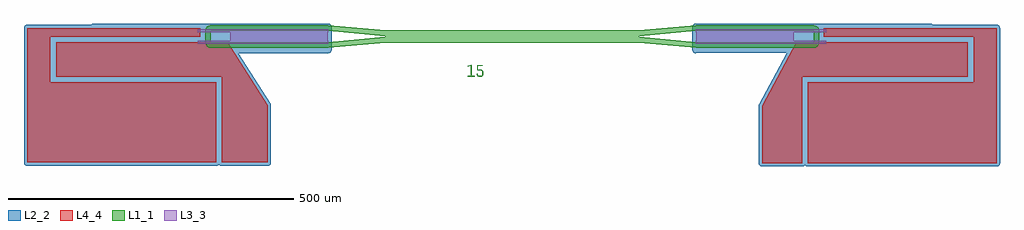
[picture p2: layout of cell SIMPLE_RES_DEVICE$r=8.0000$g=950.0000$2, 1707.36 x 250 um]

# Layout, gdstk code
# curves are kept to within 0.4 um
import gdstk
lib = gdstk.Library(unit=1e-6, precision=1e-10)
def P(c, l, *ps):  # polygons
    for p in ps: c.add(gdstk.Polygon(p, *l))
L1_1 = (1, 1)
L2_2 = (2, 2)
L3_3 = (3, 3)
L4_4 = (4, 4)

simple_res_device_r_8_00 = lib.new_cell('SIMPLE_RES_DEVICE$r=8.0000$g=950.0000$2')
P(simple_res_device_r_8_00, L1_1, [(-1260.382,-15.25),(-1264.2088,-14.4888),(-1267.4531,-12.3211),(-1269.6208,-9.0768),(-1270.3338,-6.2302),(-1269.9514,17.6528),(-1266.7259,22.4801),(-1261.3622,24.7018),(-1055.182,24.75),(-954.713,15.35),(-733.1,15.35),(-733.1,5.35),(-955.182,5.35),(-1055.182,14.75),(-1260.382,14.75),(-1260.382,-5.25),(-1055.182,-5.25),(-955.182,4.15),(-733.1,4.15),(-733.1,-5.85),(-954.713,-5.85),(-1055.182,-15.25)],
  [(-411.018,-15.25),(-511.487,-5.85),(-733.1,-5.85),(-733.1,4.15),(-511.018,4.15),(-411.018,-5.25),(-205.818,-5.25),(-205.818,14.75),(-411.018,14.75),(-511.018,5.35),(-733.1,5.35),(-733.1,15.35),(-511.487,15.35),(-411.018,24.75),(-205.818,24.75),(-200.2623,23.0647),(-198.0879,21.0939),(-196.2486,17.6528),(-195.818,-5.25),(-196.5792,-9.0768),(-198.7469,-12.3211),(-201.9912,-14.4888),(-205.818,-15.25)],
  [(-789.36,-65.578),(-791.802,-65.342),(-792.854,-64.996),(-793.858,-64.36),(-794.602,-63.406),(-794.878,-62.396),(-794.894,-60.394),(-793.408,-60.394),(-793.408,-62.012),(-792.988,-63.064),(-792.088,-63.718),(-789.772,-64.218),(-787.4,-63.98),(-786.364,-63.544),(-785.574,-62.792),(-785.312,-61.848),(-785.312,-56.692),(-785.716,-55.71),(-786.672,-55.016),(-787.644,-54.65),(-788.704,-54.468),(-794.506,-54.468),(-794.506,-45.108),(-784.364,-45.108),(-784.364,-46.468),(-793.02,-46.468),(-793.02,-53.146),(-788.61,-53.146),(-786.324,-53.492),(-784.602,-54.656),(-783.984,-55.704),(-783.826,-61.848),(-783.968,-62.914),(-784.498,-63.956),(-785.304,-64.682),(-786.554,-65.228)],
  [(-810.601,-65.22),(-810.601,-63.87),(-805.289,-63.87),(-805.289,-46.736),(-810.601,-48.1),(-810.601,-46.7),(-803.805,-44.946),(-803.805,-63.87),(-798.353,-63.87),(-798.353,-63.87),(-798.353,-65.22)])
P(simple_res_device_r_8_00, L2_2, [(-295.818,-222.5),(-299.6244,-221.1381),(-301.1095,-219.3284),(-301.7891,-217.0881),(-301.7005,-115.3184),(-252.9087,-24.5),(-413.5597,-24.2416),(-416.4561,-22.3064),(-417.818,-18.5),(-417.7891,22.0881),(-416.8068,24.8334),(-414.6464,26.7915),(-411.818,27.5),(-1.818,27.5),(0.4781,27.0433),(2.6446,25.5),(114.182,25.5),(117.0104,24.7915),(119.4735,22.3284),(120.182,19.5),(120.182,-216.5),(119.4735,-219.3284),(117.0104,-221.7915),(114.182,-222.5),(-215.818,-222.5),(-218.6464,-221.7915),(-220.818,-219.8148),(-222.9896,-221.7915),(-225.818,-222.5)],
  [(-1581.182,-221.5),(-1583.4781,-221.0433),(-1585.4246,-219.7426),(-1586.7253,-217.7961),(-1587.182,-215.5),(-1587.182,19.5),(-1586.1708,22.8334),(-1583.4781,25.0433),(-1581.182,25.5),(-1469.6446,25.5),(-1467.4781,27.0433),(-1465.182,27.5),(-1055.182,27.5),(-1051.8486,26.4888),(-1049.6387,23.7961),(-1049.182,21.5),(-1049.2109,-19.0881),(-1050.5439,-22.3064),(-1053.4403,-24.2416),(-1211.9792,-24.5),(-1155.4213,-113.8225),(-1155.182,-215.5),(-1156.1932,-218.8334),(-1158.8859,-221.0433),(-1161.182,-221.5),(-1241.182,-221.5),(-1244.0104,-220.7915),(-1246.182,-218.8148),(-1248.3536,-220.7915),(-1251.182,-221.5)])
P(simple_res_device_r_8_00, L3_3, [(-411.818,-8),(-411.818,-3),(-411.363,-3),(-411.363,11.75),(-410.918,11.75),(-410.918,-3),(-410.918,-3),(-409.563,-3),(-409.563,11.75),(-409.118,11.75),(-409.118,-3),(-407.763,-3),(-407.763,11.75),(-407.318,11.75),(-407.318,-3),(-405.963,-3),(-405.963,11.75),(-405.518,11.75),(-405.518,-3),(-404.163,-3),(-404.163,11.75),(-403.718,11.75),(-403.718,-3),(-402.363,-3),(-402.363,11.75),(-401.918,11.75),(-401.918,-3),(-400.563,-3),(-400.563,11.75),(-400.118,11.75),(-400.118,-3),(-398.763,-3),(-398.763,11.75),(-398.318,11.75),(-398.318,-3),(-396.963,-3),(-396.963,11.75),(-396.518,11.75),(-396.518,-3),(-395.163,-3),(-395.163,11.75),(-394.718,11.75),(-394.718,-3),(-393.363,-3),(-393.363,11.75),(-392.918,11.75),(-392.918,-3),(-391.563,-3),(-391.563,11.75),(-391.118,11.75),(-391.118,-3),(-389.763,-3),(-389.763,11.75),(-389.318,11.75),(-389.318,-3),(-387.963,-3),(-387.963,11.75),(-387.518,11.75),(-387.518,-3),(-386.163,-3),(-386.163,11.75),(-385.718,11.75),(-385.718,-3),(-384.363,-3),(-384.363,11.75),(-383.918,11.75),(-383.918,-3),(-382.563,-3),(-382.563,11.75),(-382.118,11.75),(-382.118,-3),(-380.763,-3),(-380.763,11.75),(-380.318,11.75),(-380.318,-3),(-378.963,-3),(-378.963,11.75),(-378.518,11.75),(-378.518,-3),(-377.163,-3),(-377.163,11.75),(-376.718,11.75),(-376.718,-3),(-375.363,-3),(-375.363,11.75),(-374.918,11.75),(-374.918,-3),(-373.563,-3),(-373.563,11.75),(-373.118,11.75),(-373.118,-3),(-371.763,-3),(-371.763,11.75),(-371.318,11.75),(-371.318,-3),(-369.963,-3),(-369.963,11.75),(-369.518,11.75),(-369.518,-3),(-368.163,-3),(-368.163,11.75),(-367.718,11.75),(-367.718,-3),(-366.363,-3),(-366.363,11.75),(-365.918,11.75),(-365.918,-3),(-364.563,-3),(-364.563,11.75),(-364.118,11.75),(-364.118,-3),(-362.763,-3),(-362.763,11.75),(-362.318,11.75),(-362.318,-3),(-360.963,-3),(-360.963,11.75),(-360.518,11.75),(-360.518,-3),(-359.163,-3),(-359.163,11.75),(-358.718,11.75),(-358.718,-3),(-357.363,-3),(-357.363,11.75),(-356.918,11.75),(-356.918,-3),(-355.563,-3),(-355.563,11.75),(-355.118,11.75),(-355.118,-3),(-353.763,-3),(-353.763,11.75),(-353.318,11.75),(-353.318,-3),(-351.963,-3),(-351.963,11.75),(-351.518,11.75),(-351.518,-3),(-350.163,-3),(-350.163,11.75),(-349.718,11.75),(-349.718,-3),(-348.363,-3),(-348.363,11.75),(-347.918,11.75),(-347.918,-3),(-346.563,-3),(-346.563,11.75),(-346.118,11.75),(-346.118,-3),(-344.763,-3),(-344.763,11.75),(-344.318,11.75),(-344.318,-3),(-342.963,-3),(-342.963,11.75),(-342.518,11.75),(-342.518,-3),(-341.163,-3),(-341.163,11.75),(-340.718,11.75),(-340.718,-3),(-339.363,-3),(-339.363,11.75),(-338.918,11.75),(-338.918,-3),(-337.563,-3),(-337.563,11.75),(-337.118,11.75),(-337.118,-3),(-335.763,-3),(-335.763,11.75),(-335.318,11.75),(-335.318,-3),(-333.963,-3),(-333.963,11.75),(-333.518,11.75),(-333.518,-3),(-332.163,-3),(-332.163,11.75),(-331.718,11.75),(-331.718,-3),(-330.363,-3),(-330.363,11.75),(-329.918,11.75),(-329.918,-3),(-328.563,-3),(-328.563,11.75),(-328.118,11.75),(-328.118,-3),(-326.763,-3),(-326.763,11.75),(-326.318,11.75),(-326.318,-3),(-324.963,-3),(-324.963,11.75),(-324.518,11.75),(-324.518,-3),(-323.163,-3),(-323.163,11.75),(-322.718,11.75),(-322.718,-3),(-321.363,-3),(-321.363,11.75),(-320.918,11.75),(-320.918,-3),(-319.563,-3),(-319.563,11.75),(-319.118,11.75),(-319.118,-3),(-317.763,-3),(-317.763,11.75),(-317.318,11.75),(-317.318,-3),(-315.963,-3),(-315.963,11.75),(-315.518,11.75),(-315.518,-3),(-314.163,-3),(-314.163,11.75),(-313.718,11.75),(-313.718,-3),(-312.363,-3),(-312.363,11.75),(-311.918,11.75),(-311.918,-3),(-310.563,-3),(-310.563,11.75),(-310.118,11.75),(-310.118,-3),(-308.763,-3),(-308.763,11.75),(-308.318,11.75),(-308.318,-3),(-306.963,-3),(-306.963,11.75),(-306.518,11.75),(-306.518,-3),(-305.163,-3),(-305.163,11.75),(-304.718,11.75),(-304.718,-3),(-303.363,-3),(-303.363,11.75),(-302.918,11.75),(-302.918,-3),(-301.563,-3),(-301.563,11.75),(-301.118,11.75),(-301.118,-3),(-299.763,-3),(-299.763,11.75),(-299.318,11.75),(-299.318,-3),(-297.963,-3),(-297.963,11.75),(-297.518,11.75),(-297.518,-3),(-296.163,-3),(-296.163,11.75),(-295.718,11.75),(-295.718,-3),(-294.363,-3),(-294.363,11.75),(-293.918,11.75),(-293.918,-3),(-292.563,-3),(-292.563,11.75),(-292.118,11.75),(-292.118,-3),(-290.763,-3),(-290.763,11.75),(-290.318,11.75),(-290.318,-3),(-288.963,-3),(-288.963,11.75),(-288.518,11.75),(-288.518,-3),(-287.163,-3),(-287.163,11.75),(-286.718,11.75),(-286.718,-3),(-285.363,-3),(-285.363,11.75),(-284.918,11.75),(-284.918,-3),(-283.563,-3),(-283.563,11.75),(-283.118,11.75),(-283.118,-3),(-281.763,-3),(-281.763,11.75),(-281.318,11.75),(-281.318,-3),(-279.963,-3),(-279.963,11.75),(-279.518,11.75),(-279.518,-3),(-278.163,-3),(-278.163,11.75),(-277.718,11.75),(-277.718,-3),(-276.363,-3),(-276.363,11.75),(-275.918,11.75),(-275.918,-3),(-274.563,-3),(-274.563,11.75),(-274.118,11.75),(-274.118,-3),(-272.763,-3),(-272.763,11.75),(-272.318,11.75),(-272.318,-3),(-270.963,-3),(-270.963,11.75),(-270.518,11.75),(-270.518,-3),(-269.163,-3),(-269.163,11.75),(-268.718,11.75),(-268.718,-3),(-267.363,-3),(-267.363,11.75),(-266.918,11.75),(-266.918,-3),(-265.563,-3),(-265.563,11.75),(-265.118,11.75),(-265.118,-3),(-263.763,-3),(-263.763,11.75),(-263.318,11.75),(-263.318,-3),(-261.963,-3),(-261.963,11.75),(-261.518,11.75),(-261.518,-3),(-260.163,-3),(-260.163,11.75),(-259.718,11.75),(-259.718,-3),(-258.363,-3),(-258.363,11.75),(-257.918,11.75),(-257.918,-3),(-256.563,-3),(-256.563,11.75),(-256.118,11.75),(-256.118,-3),(-254.763,-3),(-254.763,11.75),(-254.318,11.75),(-254.318,-3),(-252.963,-3),(-252.963,11.75),(-252.518,11.75),(-252.518,-3),(-251.163,-3),(-251.163,11.75),(-250.718,11.75),(-250.718,-3),(-249.363,-3),(-249.363,11.75),(-248.918,11.75),(-248.918,-3),(-247.563,-3),(-247.563,11.75),(-247.118,11.75),(-247.118,-3),(-245.763,-3),(-245.763,11.75),(-245.318,11.75),(-245.318,-3),(-243.963,-3),(-243.963,11.75),(-243.518,11.75),(-243.518,-3),(-242.163,-3),(-242.163,11.75),(-241.718,11.75),(-241.718,-3),(-183.818,-3),(-183.818,-8)],
  [(-410.463,-2.25),(-410.463,12.5),(-411.818,12.5),(-411.818,17.5),(-183.818,17.5),(-183.818,12.5),(-240.818,12.5),(-240.818,-2.25),(-241.263,-2.25),(-241.263,12.5),(-242.618,12.5),(-242.618,-2.25),(-243.063,-2.25),(-243.063,12.5),(-244.418,12.5),(-244.418,-2.25),(-244.863,-2.25),(-244.863,12.5),(-246.218,12.5),(-246.218,-2.25),(-246.663,-2.25),(-246.663,12.5),(-248.018,12.5),(-248.018,-2.25),(-248.463,-2.25),(-248.463,12.5),(-249.818,12.5),(-249.818,-2.25),(-250.263,-2.25),(-250.263,12.5),(-251.618,12.5),(-251.618,-2.25),(-252.063,-2.25),(-252.063,12.5),(-253.418,12.5),(-253.418,-2.25),(-253.863,-2.25),(-253.863,12.5),(-255.218,12.5),(-255.218,-2.25),(-255.663,-2.25),(-255.663,12.5),(-257.018,12.5),(-257.018,-2.25),(-257.463,-2.25),(-257.463,12.5),(-258.818,12.5),(-258.818,-2.25),(-259.263,-2.25),(-259.263,12.5),(-260.618,12.5),(-260.618,-2.25),(-261.063,-2.25),(-261.063,12.5),(-262.418,12.5),(-262.418,-2.25),(-262.863,-2.25),(-262.863,12.5),(-264.218,12.5),(-264.218,-2.25),(-264.663,-2.25),(-264.663,12.5),(-266.018,12.5),(-266.018,-2.25),(-266.463,-2.25),(-266.463,12.5),(-267.818,12.5),(-267.818,-2.25),(-268.263,-2.25),(-268.263,12.5),(-269.618,12.5),(-269.618,-2.25),(-270.063,-2.25),(-270.063,12.5),(-271.418,12.5),(-271.418,-2.25),(-271.863,-2.25),(-271.863,12.5),(-273.218,12.5),(-273.218,-2.25),(-273.663,-2.25),(-273.663,12.5),(-275.018,12.5),(-275.018,-2.25),(-275.463,-2.25),(-275.463,12.5),(-276.818,12.5),(-276.818,-2.25),(-277.263,-2.25),(-277.263,12.5),(-278.618,12.5),(-278.618,-2.25),(-279.063,-2.25),(-279.063,12.5),(-280.418,12.5),(-280.418,-2.25),(-280.863,-2.25),(-280.863,12.5),(-282.218,12.5),(-282.218,-2.25),(-282.663,-2.25),(-282.663,12.5),(-284.018,12.5),(-284.018,-2.25),(-284.463,-2.25),(-284.463,12.5),(-285.818,12.5),(-285.818,-2.25),(-286.263,-2.25),(-286.263,12.5),(-287.618,12.5),(-287.618,-2.25),(-288.063,-2.25),(-288.063,12.5),(-289.418,12.5),(-289.418,-2.25),(-289.863,-2.25),(-289.863,12.5),(-291.218,12.5),(-291.218,-2.25),(-291.663,-2.25),(-291.663,12.5),(-293.018,12.5),(-293.018,-2.25),(-293.463,-2.25),(-293.463,12.5),(-294.818,12.5),(-294.818,-2.25),(-295.263,-2.25),(-295.263,12.5),(-296.618,12.5),(-296.618,-2.25),(-297.063,-2.25),(-297.063,12.5),(-298.418,12.5),(-298.418,-2.25),(-298.863,-2.25),(-298.863,12.5),(-300.218,12.5),(-300.218,-2.25),(-300.663,-2.25),(-300.663,12.5),(-302.018,12.5),(-302.018,-2.25),(-302.463,-2.25),(-302.463,12.5),(-303.818,12.5),(-303.818,-2.25),(-304.263,-2.25),(-304.263,12.5),(-305.618,12.5),(-305.618,-2.25),(-306.063,-2.25),(-306.063,12.5),(-307.418,12.5),(-307.418,-2.25),(-307.863,-2.25),(-307.863,12.5),(-309.218,12.5),(-309.218,-2.25),(-309.663,-2.25),(-309.663,12.5),(-311.018,12.5),(-311.018,-2.25),(-311.463,-2.25),(-311.463,12.5),(-312.818,12.5),(-312.818,-2.25),(-313.263,-2.25),(-313.263,12.5),(-314.618,12.5),(-314.618,-2.25),(-315.063,-2.25),(-315.063,12.5),(-316.418,12.5),(-316.418,-2.25),(-316.863,-2.25),(-316.863,12.5),(-318.218,12.5),(-318.218,-2.25),(-318.663,-2.25),(-318.663,12.5),(-320.018,12.5),(-320.018,-2.25),(-320.463,-2.25),(-320.463,12.5),(-321.818,12.5),(-321.818,-2.25),(-322.263,-2.25),(-322.263,12.5),(-323.618,12.5),(-323.618,-2.25),(-324.063,-2.25),(-324.063,12.5),(-325.418,12.5),(-325.418,-2.25),(-325.863,-2.25),(-325.863,12.5),(-327.218,12.5),(-327.218,-2.25),(-327.663,-2.25),(-327.663,12.5),(-329.018,12.5),(-329.018,-2.25),(-329.463,-2.25),(-329.463,12.5),(-330.818,12.5),(-330.818,-2.25),(-331.263,-2.25),(-331.263,12.5),(-332.618,12.5),(-332.618,-2.25),(-333.063,-2.25),(-333.063,12.5),(-334.418,12.5),(-334.418,-2.25),(-334.863,-2.25),(-334.863,12.5),(-336.218,12.5),(-336.218,-2.25),(-336.663,-2.25),(-336.663,12.5),(-338.018,12.5),(-338.018,-2.25),(-338.463,-2.25),(-338.463,12.5),(-339.818,12.5),(-339.818,-2.25),(-340.263,-2.25),(-340.263,12.5),(-341.618,12.5),(-341.618,-2.25),(-342.063,-2.25),(-342.063,12.5),(-343.418,12.5),(-343.418,-2.25),(-343.863,-2.25),(-343.863,12.5),(-345.218,12.5),(-345.218,-2.25),(-345.663,-2.25),(-345.663,12.5),(-347.018,12.5),(-347.018,-2.25),(-347.463,-2.25),(-347.463,12.5),(-348.818,12.5),(-348.818,-2.25),(-349.263,-2.25),(-349.263,12.5),(-350.618,12.5),(-350.618,-2.25),(-351.063,-2.25),(-351.063,12.5),(-352.418,12.5),(-352.418,-2.25),(-352.863,-2.25),(-352.863,12.5),(-354.218,12.5),(-354.218,-2.25),(-354.663,-2.25),(-354.663,12.5),(-356.018,12.5),(-356.018,-2.25),(-356.463,-2.25),(-356.463,12.5),(-357.818,12.5),(-357.818,-2.25),(-358.263,-2.25),(-358.263,12.5),(-359.618,12.5),(-359.618,-2.25),(-360.063,-2.25),(-360.063,12.5),(-361.418,12.5),(-361.418,-2.25),(-361.863,-2.25),(-361.863,12.5),(-363.218,12.5),(-363.218,-2.25),(-363.663,-2.25),(-363.663,12.5),(-365.018,12.5),(-365.018,-2.25),(-365.463,-2.25),(-365.463,12.5),(-366.818,12.5),(-366.818,-2.25),(-367.263,-2.25),(-367.263,12.5),(-368.618,12.5),(-368.618,-2.25),(-369.063,-2.25),(-369.063,12.5),(-370.418,12.5),(-370.418,-2.25),(-370.863,-2.25),(-370.863,12.5),(-372.218,12.5),(-372.218,-2.25),(-372.663,-2.25),(-372.663,12.5),(-374.018,12.5),(-374.018,-2.25),(-374.463,-2.25),(-374.463,12.5),(-375.818,12.5),(-375.818,-2.25),(-376.263,-2.25),(-376.263,12.5),(-377.618,12.5),(-377.618,-2.25),(-378.063,-2.25),(-378.063,12.5),(-379.418,12.5),(-379.418,-2.25),(-379.863,-2.25),(-379.863,12.5),(-381.218,12.5),(-381.218,-2.25),(-381.663,-2.25),(-381.663,12.5),(-383.018,12.5),(-383.018,-2.25),(-383.463,-2.25),(-383.463,12.5),(-384.818,12.5),(-384.818,-2.25),(-385.263,-2.25),(-385.263,12.5),(-386.618,12.5),(-386.618,-2.25),(-387.063,-2.25),(-387.063,12.5),(-388.418,12.5),(-388.418,-2.25),(-388.863,-2.25),(-388.863,12.5),(-390.218,12.5),(-390.218,-2.25),(-390.663,-2.25),(-390.663,12.5),(-392.018,12.5),(-392.018,-2.25),(-392.463,-2.25),(-392.463,12.5),(-393.818,12.5),(-393.818,-2.25),(-394.263,-2.25),(-394.263,12.5),(-395.618,12.5),(-395.618,-2.25),(-396.063,-2.25),(-396.063,12.5),(-397.418,12.5),(-397.418,-2.25),(-397.863,-2.25),(-397.863,12.5),(-399.218,12.5),(-399.218,-2.25),(-399.663,-2.25),(-399.663,12.5),(-401.018,12.5),(-401.018,-2.25),(-401.463,-2.25),(-401.463,12.5),(-402.818,12.5),(-402.818,-2.25),(-403.263,-2.25),(-403.263,12.5),(-404.618,12.5),(-404.618,-2.25),(-405.063,-2.25),(-405.063,12.5),(-405.063,12.5),(-406.418,12.5),(-406.418,-2.25),(-406.863,-2.25),(-406.863,12.5),(-408.218,12.5),(-408.218,-2.25),(-408.663,-2.25),(-408.663,12.5),(-410.018,12.5),(-410.018,-2.25)],
  [(-1283.182,-8),(-1283.182,-3),(-1225.282,-3),(-1225.282,11.75),(-1224.837,11.75),(-1224.837,-3),(-1223.482,-3),(-1223.482,11.75),(-1223.037,11.75),(-1223.037,-3),(-1221.682,-3),(-1221.682,11.75),(-1221.237,11.75),(-1221.237,-3),(-1219.882,-3),(-1219.882,11.75),(-1219.437,11.75),(-1219.437,-3),(-1218.082,-3),(-1218.082,11.75),(-1217.637,11.75),(-1217.637,-3),(-1216.282,-3),(-1216.282,11.75),(-1215.837,11.75),(-1215.837,-3),(-1214.482,-3),(-1214.482,11.75),(-1214.037,11.75),(-1214.037,-3),(-1212.682,-3),(-1212.682,11.75),(-1212.237,11.75),(-1212.237,-3),(-1210.882,-3),(-1210.882,11.75),(-1210.437,11.75),(-1210.437,-3),(-1209.082,-3),(-1209.082,11.75),(-1208.637,11.75),(-1208.637,-3),(-1208.637,-3),(-1207.282,-3),(-1207.282,11.75),(-1206.837,11.75),(-1206.837,-3),(-1205.482,-3),(-1205.482,11.75),(-1205.037,11.75),(-1205.037,-3),(-1203.682,-3),(-1203.682,11.75),(-1203.237,11.75),(-1203.237,-3),(-1201.882,-3),(-1201.882,11.75),(-1201.437,11.75),(-1201.437,-3),(-1200.082,-3),(-1200.082,11.75),(-1199.637,11.75),(-1199.637,-3),(-1198.282,-3),(-1198.282,11.75),(-1197.837,11.75),(-1197.837,-3),(-1196.482,-3),(-1196.482,11.75),(-1196.037,11.75),(-1196.037,-3),(-1194.682,-3),(-1194.682,11.75),(-1194.237,11.75),(-1194.237,-3),(-1192.882,-3),(-1192.882,11.75),(-1192.437,11.75),(-1192.437,-3),(-1191.082,-3),(-1191.082,11.75),(-1190.637,11.75),(-1190.637,-3),(-1189.282,-3),(-1189.282,11.75),(-1188.837,11.75),(-1188.837,-3),(-1187.482,-3),(-1187.482,11.75),(-1187.037,11.75),(-1187.037,-3),(-1185.682,-3),(-1185.682,11.75),(-1185.237,11.75),(-1185.237,-3),(-1183.882,-3),(-1183.882,11.75),(-1183.437,11.75),(-1183.437,-3),(-1182.082,-3),(-1182.082,11.75),(-1181.637,11.75),(-1181.637,-3),(-1180.282,-3),(-1180.282,11.75),(-1179.837,11.75),(-1179.837,-3),(-1178.482,-3),(-1178.482,11.75),(-1178.037,11.75),(-1178.037,-3),(-1176.682,-3),(-1176.682,11.75),(-1176.237,11.75),(-1176.237,-3),(-1174.882,-3),(-1174.882,11.75),(-1174.437,11.75),(-1174.437,-3),(-1173.082,-3),(-1173.082,11.75),(-1172.637,11.75),(-1172.637,-3),(-1171.282,-3),(-1171.282,11.75),(-1170.837,11.75),(-1170.837,-3),(-1169.482,-3),(-1169.482,11.75),(-1169.037,11.75),(-1169.037,-3),(-1167.682,-3),(-1167.682,11.75),(-1167.237,11.75),(-1167.237,-3),(-1165.882,-3),(-1165.882,11.75),(-1165.437,11.75),(-1165.437,-3),(-1164.082,-3),(-1164.082,11.75),(-1163.637,11.75),(-1163.637,-3),(-1162.282,-3),(-1162.282,11.75),(-1161.837,11.75),(-1161.837,-3),(-1160.482,-3),(-1160.482,11.75),(-1160.037,11.75),(-1160.037,-3),(-1158.682,-3),(-1158.682,11.75),(-1158.237,11.75),(-1158.237,-3),(-1156.882,-3),(-1156.882,11.75),(-1156.437,11.75),(-1156.437,-3),(-1155.082,-3),(-1155.082,11.75),(-1154.637,11.75),(-1154.637,-3),(-1153.282,-3),(-1153.282,11.75),(-1152.837,11.75),(-1152.837,-3),(-1151.482,-3),(-1151.482,11.75),(-1151.037,11.75),(-1151.037,-3),(-1149.682,-3),(-1149.682,11.75),(-1149.237,11.75),(-1149.237,-3),(-1147.882,-3),(-1147.882,11.75),(-1147.437,11.75),(-1147.437,-3),(-1146.082,-3),(-1146.082,11.75),(-1145.637,11.75),(-1145.637,-3),(-1144.282,-3),(-1144.282,11.75),(-1143.837,11.75),(-1143.837,-3),(-1142.482,-3),(-1142.482,11.75),(-1142.037,11.75),(-1142.037,-3),(-1140.682,-3),(-1140.682,11.75),(-1140.237,11.75),(-1140.237,-3),(-1138.882,-3),(-1138.882,11.75),(-1138.437,11.75),(-1138.437,-3),(-1137.082,-3),(-1137.082,11.75),(-1136.637,11.75),(-1136.637,-3),(-1135.282,-3),(-1135.282,11.75),(-1134.837,11.75),(-1134.837,-3),(-1133.482,-3),(-1133.482,11.75),(-1133.037,11.75),(-1133.037,-3),(-1131.682,-3),(-1131.682,11.75),(-1131.237,11.75),(-1131.237,-3),(-1129.882,-3),(-1129.882,11.75),(-1129.437,11.75),(-1129.437,-3),(-1128.082,-3),(-1128.082,11.75),(-1127.637,11.75),(-1127.637,-3),(-1126.282,-3),(-1126.282,11.75),(-1125.837,11.75),(-1125.837,-3),(-1124.482,-3),(-1124.482,11.75),(-1124.037,11.75),(-1124.037,-3),(-1122.682,-3),(-1122.682,11.75),(-1122.237,11.75),(-1122.237,-3),(-1120.882,-3),(-1120.882,11.75),(-1120.437,11.75),(-1120.437,-3),(-1119.082,-3),(-1119.082,11.75),(-1118.637,11.75),(-1118.637,-3),(-1117.282,-3),(-1117.282,11.75),(-1116.837,11.75),(-1116.837,-3),(-1115.482,-3),(-1115.482,11.75),(-1115.037,11.75),(-1115.037,-3),(-1113.682,-3),(-1113.682,11.75),(-1113.237,11.75),(-1113.237,-3),(-1111.882,-3),(-1111.882,11.75),(-1111.437,11.75),(-1111.437,-3),(-1110.082,-3),(-1110.082,11.75),(-1109.637,11.75),(-1109.637,-3),(-1108.282,-3),(-1108.282,11.75),(-1107.837,11.75),(-1107.837,-3),(-1106.482,-3),(-1106.482,11.75),(-1106.037,11.75),(-1106.037,-3),(-1104.682,-3),(-1104.682,11.75),(-1104.237,11.75),(-1104.237,-3),(-1102.882,-3),(-1102.882,11.75),(-1102.437,11.75),(-1102.437,-3),(-1101.082,-3),(-1101.082,11.75),(-1100.637,11.75),(-1100.637,-3),(-1099.282,-3),(-1099.282,11.75),(-1098.837,11.75),(-1098.837,-3),(-1097.482,-3),(-1097.482,11.75),(-1097.037,11.75),(-1097.037,-3),(-1095.682,-3),(-1095.682,11.75),(-1095.237,11.75),(-1095.237,-3),(-1093.882,-3),(-1093.882,11.75),(-1093.437,11.75),(-1093.437,-3),(-1092.082,-3),(-1092.082,11.75),(-1091.637,11.75),(-1091.637,-3),(-1090.282,-3),(-1090.282,11.75),(-1089.837,11.75),(-1089.837,-3),(-1088.482,-3),(-1088.482,11.75),(-1088.037,11.75),(-1088.037,-3),(-1086.682,-3),(-1086.682,11.75),(-1086.237,11.75),(-1086.237,-3),(-1084.882,-3),(-1084.882,11.75),(-1084.437,11.75),(-1084.437,-3),(-1083.082,-3),(-1083.082,11.75),(-1082.637,11.75),(-1082.637,-3),(-1081.282,-3),(-1081.282,11.75),(-1080.837,11.75),(-1080.837,-3),(-1079.482,-3),(-1079.482,11.75),(-1079.037,11.75),(-1079.037,-3),(-1077.682,-3),(-1077.682,11.75),(-1077.237,11.75),(-1077.237,-3),(-1075.882,-3),(-1075.882,11.75),(-1075.437,11.75),(-1075.437,-3),(-1074.082,-3),(-1074.082,11.75),(-1073.637,11.75),(-1073.637,-3),(-1072.282,-3),(-1072.282,11.75),(-1071.837,11.75),(-1071.837,-3),(-1070.482,-3),(-1070.482,11.75),(-1070.037,11.75),(-1070.037,-3),(-1068.682,-3),(-1068.682,11.75),(-1068.237,11.75),(-1068.237,-3),(-1066.882,-3),(-1066.882,11.75),(-1066.437,11.75),(-1066.437,-3),(-1065.082,-3),(-1065.082,11.75),(-1064.637,11.75),(-1064.637,-3),(-1063.282,-3),(-1063.282,11.75),(-1062.837,11.75),(-1062.837,-3),(-1061.482,-3),(-1061.482,11.75),(-1061.037,11.75),(-1061.037,-3),(-1059.682,-3),(-1059.682,11.75),(-1059.237,11.75),(-1059.237,-3),(-1057.882,-3),(-1057.882,11.75),(-1057.437,11.75),(-1057.437,-3),(-1056.082,-3),(-1056.082,11.75),(-1055.637,11.75),(-1055.637,-3),(-1055.182,-3),(-1055.182,-8)],
  [(-1226.182,-2.25),(-1226.182,12.5),(-1283.182,12.5),(-1283.182,17.5),(-1055.182,17.5),(-1055.182,12.5),(-1056.537,12.5),(-1056.537,-2.25),(-1056.982,-2.25),(-1056.982,12.5),(-1058.337,12.5),(-1058.337,-2.25),(-1058.782,-2.25),(-1058.782,12.5),(-1060.137,12.5),(-1060.137,-2.25),(-1060.582,-2.25),(-1060.582,12.5),(-1061.937,12.5),(-1061.937,-2.25),(-1062.382,-2.25),(-1062.382,12.5),(-1063.737,12.5),(-1063.737,-2.25),(-1064.182,-2.25),(-1064.182,12.5),(-1065.537,12.5),(-1065.537,-2.25),(-1065.982,-2.25),(-1065.982,12.5),(-1067.337,12.5),(-1067.337,-2.25),(-1067.782,-2.25),(-1067.782,12.5),(-1069.137,12.5),(-1069.137,-2.25),(-1069.582,-2.25),(-1069.582,12.5),(-1070.937,12.5),(-1070.937,-2.25),(-1071.382,-2.25),(-1071.382,12.5),(-1072.737,12.5),(-1072.737,-2.25),(-1073.182,-2.25),(-1073.182,12.5),(-1074.537,12.5),(-1074.537,-2.25),(-1074.982,-2.25),(-1074.982,12.5),(-1076.337,12.5),(-1076.337,-2.25),(-1076.782,-2.25),(-1076.782,12.5),(-1078.137,12.5),(-1078.137,-2.25),(-1078.582,-2.25),(-1078.582,12.5),(-1079.937,12.5),(-1079.937,-2.25),(-1080.382,-2.25),(-1080.382,12.5),(-1081.737,12.5),(-1081.737,-2.25),(-1082.182,-2.25),(-1082.182,12.5),(-1083.537,12.5),(-1083.537,-2.25),(-1083.982,-2.25),(-1083.982,12.5),(-1085.337,12.5),(-1085.337,-2.25),(-1085.782,-2.25),(-1085.782,12.5),(-1087.137,12.5),(-1087.137,-2.25),(-1087.582,-2.25),(-1087.582,12.5),(-1088.937,12.5),(-1088.937,-2.25),(-1089.382,-2.25),(-1089.382,12.5),(-1090.737,12.5),(-1090.737,-2.25),(-1091.182,-2.25),(-1091.182,12.5),(-1092.537,12.5),(-1092.537,-2.25),(-1092.982,-2.25),(-1092.982,12.5),(-1094.337,12.5),(-1094.337,-2.25),(-1094.782,-2.25),(-1094.782,12.5),(-1096.137,12.5),(-1096.137,-2.25),(-1096.582,-2.25),(-1096.582,12.5),(-1097.937,12.5),(-1097.937,-2.25),(-1098.382,-2.25),(-1098.382,12.5),(-1099.737,12.5),(-1099.737,-2.25),(-1100.182,-2.25),(-1100.182,12.5),(-1101.537,12.5),(-1101.537,-2.25),(-1101.982,-2.25),(-1101.982,12.5),(-1103.337,12.5),(-1103.337,-2.25),(-1103.782,-2.25),(-1103.782,12.5),(-1105.137,12.5),(-1105.137,-2.25),(-1105.582,-2.25),(-1105.582,12.5),(-1106.937,12.5),(-1106.937,-2.25),(-1107.382,-2.25),(-1107.382,12.5),(-1108.737,12.5),(-1108.737,-2.25),(-1109.182,-2.25),(-1109.182,12.5),(-1110.537,12.5),(-1110.537,-2.25),(-1110.982,-2.25),(-1110.982,12.5),(-1112.337,12.5),(-1112.337,-2.25),(-1112.782,-2.25),(-1112.782,12.5),(-1114.137,12.5),(-1114.137,-2.25),(-1114.582,-2.25),(-1114.582,12.5),(-1115.937,12.5),(-1115.937,-2.25),(-1116.382,-2.25),(-1116.382,12.5),(-1117.737,12.5),(-1117.737,-2.25),(-1118.182,-2.25),(-1118.182,12.5),(-1119.537,12.5),(-1119.537,-2.25),(-1119.982,-2.25),(-1119.982,12.5),(-1121.337,12.5),(-1121.337,-2.25),(-1121.782,-2.25),(-1121.782,12.5),(-1123.137,12.5),(-1123.137,-2.25),(-1123.582,-2.25),(-1123.582,12.5),(-1124.937,12.5),(-1124.937,-2.25),(-1125.382,-2.25),(-1125.382,12.5),(-1126.737,12.5),(-1126.737,-2.25),(-1127.182,-2.25),(-1127.182,12.5),(-1128.537,12.5),(-1128.537,-2.25),(-1128.982,-2.25),(-1128.982,12.5),(-1130.337,12.5),(-1130.337,-2.25),(-1130.782,-2.25),(-1130.782,12.5),(-1132.137,12.5),(-1132.137,-2.25),(-1132.582,-2.25),(-1132.582,12.5),(-1133.937,12.5),(-1133.937,-2.25),(-1134.382,-2.25),(-1134.382,12.5),(-1135.737,12.5),(-1135.737,-2.25),(-1136.182,-2.25),(-1136.182,12.5),(-1137.537,12.5),(-1137.537,-2.25),(-1137.982,-2.25),(-1137.982,12.5),(-1139.337,12.5),(-1139.337,-2.25),(-1139.782,-2.25),(-1139.782,12.5),(-1141.137,12.5),(-1141.137,-2.25),(-1141.582,-2.25),(-1141.582,12.5),(-1142.937,12.5),(-1142.937,-2.25),(-1143.382,-2.25),(-1143.382,12.5),(-1144.737,12.5),(-1144.737,-2.25),(-1145.182,-2.25),(-1145.182,12.5),(-1146.537,12.5),(-1146.537,-2.25),(-1146.982,-2.25),(-1146.982,12.5),(-1148.337,12.5),(-1148.337,-2.25),(-1148.782,-2.25),(-1148.782,12.5),(-1150.137,12.5),(-1150.137,-2.25),(-1150.582,-2.25),(-1150.582,12.5),(-1151.937,12.5),(-1151.937,-2.25),(-1152.382,-2.25),(-1152.382,12.5),(-1153.737,12.5),(-1153.737,-2.25),(-1154.182,-2.25),(-1154.182,12.5),(-1155.537,12.5),(-1155.537,-2.25),(-1155.982,-2.25),(-1155.982,12.5),(-1157.337,12.5),(-1157.337,-2.25),(-1157.782,-2.25),(-1157.782,12.5),(-1159.137,12.5),(-1159.137,-2.25),(-1159.582,-2.25),(-1159.582,12.5),(-1160.937,12.5),(-1160.937,-2.25),(-1161.382,-2.25),(-1161.382,12.5),(-1162.737,12.5),(-1162.737,-2.25),(-1163.182,-2.25),(-1163.182,12.5),(-1164.537,12.5),(-1164.537,-2.25),(-1164.982,-2.25),(-1164.982,12.5),(-1166.337,12.5),(-1166.337,-2.25),(-1166.782,-2.25),(-1166.782,12.5),(-1168.137,12.5),(-1168.137,-2.25),(-1168.582,-2.25),(-1168.582,12.5),(-1169.937,12.5),(-1169.937,-2.25),(-1170.382,-2.25),(-1170.382,12.5),(-1171.737,12.5),(-1171.737,-2.25),(-1172.182,-2.25),(-1172.182,12.5),(-1173.537,12.5),(-1173.537,-2.25),(-1173.982,-2.25),(-1173.982,12.5),(-1175.337,12.5),(-1175.337,-2.25),(-1175.782,-2.25),(-1175.782,12.5),(-1177.137,12.5),(-1177.137,-2.25),(-1177.582,-2.25),(-1177.582,12.5),(-1178.937,12.5),(-1178.937,-2.25),(-1179.382,-2.25),(-1179.382,12.5),(-1180.737,12.5),(-1180.737,-2.25),(-1181.182,-2.25),(-1181.182,12.5),(-1182.537,12.5),(-1182.537,-2.25),(-1182.982,-2.25),(-1182.982,12.5),(-1184.337,12.5),(-1184.337,-2.25),(-1184.782,-2.25),(-1184.782,12.5),(-1186.137,12.5),(-1186.137,-2.25),(-1186.582,-2.25),(-1186.582,12.5),(-1187.937,12.5),(-1187.937,-2.25),(-1188.382,-2.25),(-1188.382,12.5),(-1189.737,12.5),(-1189.737,-2.25),(-1190.182,-2.25),(-1190.182,12.5),(-1191.537,12.5),(-1191.537,-2.25),(-1191.982,-2.25),(-1191.982,-2.25),(-1191.982,12.5),(-1193.337,12.5),(-1193.337,-2.25),(-1193.782,-2.25),(-1193.782,12.5),(-1195.137,12.5),(-1195.137,-2.25),(-1195.582,-2.25),(-1195.582,12.5),(-1196.937,12.5),(-1196.937,-2.25),(-1197.382,-2.25),(-1197.382,12.5),(-1198.737,12.5),(-1198.737,-2.25),(-1199.182,-2.25),(-1199.182,12.5),(-1200.537,12.5),(-1200.537,-2.25),(-1200.982,-2.25),(-1200.982,12.5),(-1202.337,12.5),(-1202.337,-2.25),(-1202.782,-2.25),(-1202.782,12.5),(-1204.137,12.5),(-1204.137,-2.25),(-1204.582,-2.25),(-1204.582,12.5),(-1205.937,12.5),(-1205.937,-2.25),(-1206.382,-2.25),(-1206.382,12.5),(-1207.737,12.5),(-1207.737,-2.25),(-1208.182,-2.25),(-1208.182,12.5),(-1209.537,12.5),(-1209.537,-2.25),(-1209.982,-2.25),(-1209.982,12.5),(-1211.337,12.5),(-1211.337,-2.25),(-1211.782,-2.25),(-1211.782,12.5),(-1213.137,12.5),(-1213.137,-2.25),(-1213.582,-2.25),(-1213.582,12.5),(-1214.937,12.5),(-1214.937,-2.25),(-1215.382,-2.25),(-1215.382,12.5),(-1216.737,12.5),(-1216.737,-2.25),(-1217.182,-2.25),(-1217.182,12.5),(-1218.537,12.5),(-1218.537,-2.25),(-1218.982,-2.25),(-1218.982,12.5),(-1220.337,12.5),(-1220.337,-2.25),(-1220.782,-2.25),(-1220.782,12.5),(-1222.137,12.5),(-1222.137,-2.25),(-1222.582,-2.25),(-1222.582,12.5),(-1223.937,12.5),(-1223.937,-2.25),(-1224.382,-2.25),(-1224.382,12.5),(-1225.737,12.5),(-1225.737,-2.25)])
P(simple_res_device_r_8_00, L4_4, [(-295.818,-216.5),(-295.818,-116.5),(-235.818,-5.5),(64.182,-5.5),(64.182,-5.5),(64.182,-65.5),(-225.818,-65.5),(-225.818,-216.5)],
  [(-215.818,-216.5),(-215.818,-75.5),(74.182,-75.5),(74.182,4.5),(-187.818,4.5),(-187.818,19.5),(114.182,19.5),(114.182,19.5),(114.182,-216.5)],
  [(-1241.182,-215.5),(-1241.182,-65.5),(-1531.182,-65.5),(-1531.182,-5.5),(-1231.182,-5.5),(-1161.182,-115.5),(-1161.182,-115.5),(-1161.182,-215.5)],
  [(-1581.182,-215.5),(-1581.182,19.5),(-1279.182,19.5),(-1279.182,4.5),(-1279.182,4.5),(-1541.182,4.5),(-1541.182,-75.5),(-1251.182,-75.5),(-1251.182,-215.5)])

lib.write_gds('SIMPLE_RES_DEVICE_r_8.0000_g_950.0000_2.gds')
